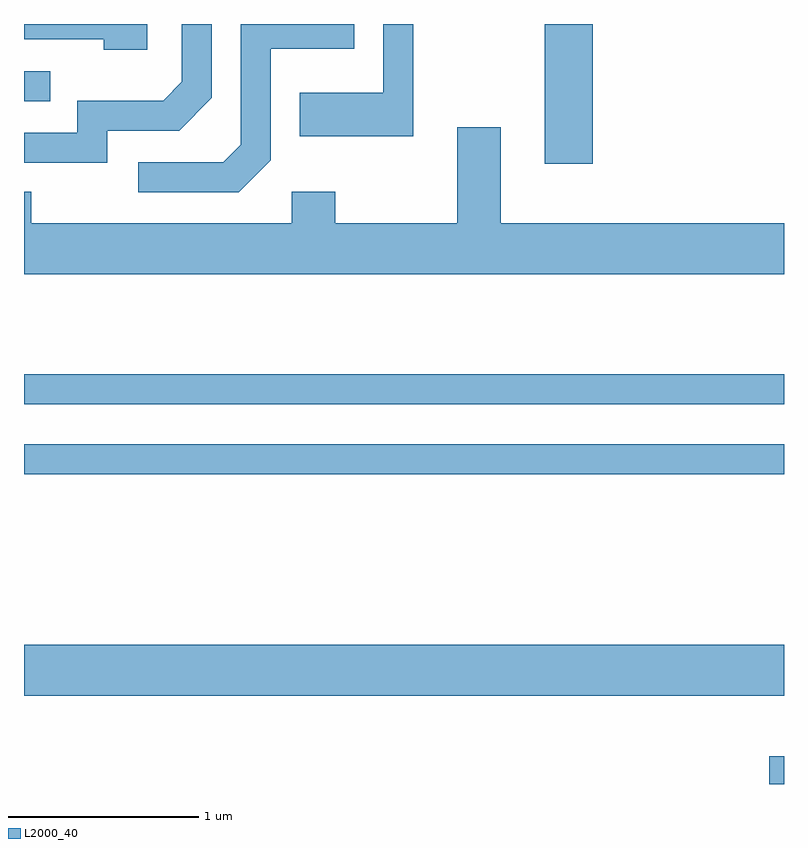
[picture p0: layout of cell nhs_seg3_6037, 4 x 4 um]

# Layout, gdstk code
import gdstk
lib = gdstk.Library(unit=1e-6, precision=1e-09)
def R(c, l, rs):  # rectangles x0, y0, x1, y1
    for r in rs: c.add(gdstk.rectangle(r[:2], r[2:], *l))
def P(c, l, *ps):  # polygons
    for p in ps: c.add(gdstk.Polygon(p, *l))
L2000_40 = (2000, 40)

nhs_seg3_6037 = lib.new_cell('nhs_seg3_6037')
R(nhs_seg3_6037, L2000_40, [(365.533,1229.892,365.611,1230.039), (361.611,1230.356,365.611,1230.624), (361.611,1231.521,365.611,1231.679), (361.611,1231.891,365.611,1232.049), (364.351,1233.156,364.604,1233.892), (361.611,1233.486,361.748,1233.644)])
P(nhs_seg3_6037, L2000_40, [(362.909,1233.174),(362.909,1233.761),(363.349,1233.761),(363.349,1233.892),(362.751,1233.892),(362.751,1233.257),(362.659,1233.164),(362.213,1233.164),(362.213,1233.006),(362.742,1233.006)],
  [(362.049,1233.331),(362.427,1233.331),(362.599,1233.504),(362.599,1233.892),(362.441,1233.892),(362.441,1233.587),(362.344,1233.489),(361.891,1233.489),(361.891,1233.319),(361.611,1233.319),(361.611,1233.161),(362.049,1233.161)],
  [(363.659,1233.892),(363.501,1233.892),(363.501,1233.529),(363.061,1233.529),(363.061,1233.301),(363.659,1233.301)],
  [(362.259,1233.892),(361.611,1233.892),(361.611,1233.811),(362.031,1233.811),(362.031,1233.756),(362.259,1233.756)],
  [(365.611,1232.844),(364.119,1232.844),(364.119,1233.349),(363.891,1233.349),(363.891,1232.844),(363.249,1232.844),(363.249,1233.009),(363.021,1233.009),(363.021,1232.844),(361.649,1232.844),(361.649,1233.009),(361.611,1233.009),(361.611,1232.576),(365.611,1232.576)])

lib.write_gds('nhs_seg3_6037.gds')
